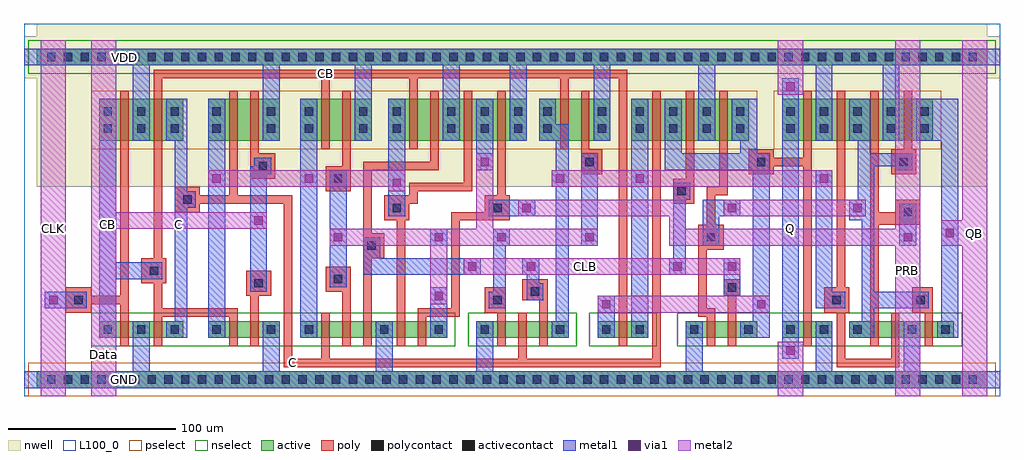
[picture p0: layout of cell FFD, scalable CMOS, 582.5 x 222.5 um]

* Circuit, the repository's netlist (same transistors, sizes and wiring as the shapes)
* Extracted by KLayout (CIDESI_CM05, LNunT, CIDESI)

.SUBCKT FFD Q CLK CB C Data QB CLB PRB VDD GND
M$1 VDD \$12 Q VDD CIDPMOS L=5U W=25U AS=312.5P AD=187.5P PS=75U PD=40U
M$2 \$13 \$10 VDD VDD CIDPMOS L=5U W=25U AS=187.5P AD=187.5P PS=40U PD=40U
M$3 VDD PRB \$13 VDD CIDPMOS L=5U W=25U AS=187.5P AD=187.5P PS=40U PD=40U
M$4 QB \$13 VDD VDD CIDPMOS L=5U W=25U AS=187.5P AD=312.5P PS=40U PD=75U
M$5 \$12 C \$10 VDD CIDPMOS L=5U W=25U AS=312.5P AD=187.5P PS=75U PD=40U
M$6 VDD CLB \$12 VDD CIDPMOS L=5U W=25U AS=187.5P AD=187.5P PS=40U PD=40U
M$7 \$12 \$13 VDD VDD CIDPMOS L=5U W=25U AS=187.5P AD=312.5P PS=40U PD=75U
M$8 \$38 CB \$10 VDD CIDPMOS L=5U W=25U AS=312.5P AD=93.75P PS=75U PD=32.5U
M$9 VDD \$9 \$38 VDD CIDPMOS L=5U W=25U AS=93.75P AD=312.5P PS=32.5U PD=75U
M$10 \$31 C \$7 VDD CIDPMOS L=5U W=25U AS=312.5P AD=93.75P PS=75U PD=32.5U
M$11 VDD Data \$31 VDD CIDPMOS L=5U W=25U AS=93.75P AD=312.5P PS=32.5U PD=75U
M$12 \$34 CB \$7 VDD CIDPMOS L=5U W=25U AS=312.5P AD=93.75P PS=75U PD=32.5U
M$13 VDD \$9 \$34 VDD CIDPMOS L=5U W=25U AS=93.75P AD=312.5P PS=32.5U PD=75U
M$14 \$35 CB \$7 VDD CIDPMOS L=5U W=25U AS=312.5P AD=93.75P PS=75U PD=32.5U
M$15 VDD CLB \$35 VDD CIDPMOS L=5U W=25U AS=93.75P AD=187.5P PS=32.5U PD=40U
M$16 \$9 \$7 VDD VDD CIDPMOS L=5U W=25U AS=187.5P AD=187.5P PS=40U PD=40U
M$17 VDD PRB \$9 VDD CIDPMOS L=5U W=25U AS=187.5P AD=312.5P PS=40U PD=75U
M$18 VDD CLK CB VDD CIDPMOS L=5U W=25U AS=312.5P AD=187.5P PS=75U PD=40U
M$19 C CB VDD VDD CIDPMOS L=5U W=25U AS=187.5P AD=312.5P PS=40U PD=75U
M$20 \$17 PRB \$13 GND CIDNMOS L=5U W=10U AS=125P AD=37.5P PS=45U PD=17.5U
M$21 GND \$10 \$17 GND CIDNMOS L=5U W=10U AS=37.5P AD=75P PS=17.5U PD=25U
M$22 QB \$13 GND GND CIDNMOS L=5U W=10U AS=75P AD=125P PS=25U PD=45U
M$23 GND \$12 Q GND CIDNMOS L=5U W=10U AS=125P AD=125P PS=45U PD=45U
M$24 \$25 \$13 GND GND CIDNMOS L=5U W=10U AS=125P AD=37.5P PS=45U PD=17.5U
M$25 \$12 CLB \$25 GND CIDNMOS L=5U W=10U AS=37.5P AD=125P PS=17.5U PD=45U
M$26 GND CLK CB GND CIDNMOS L=5U W=10U AS=125P AD=75P PS=45U PD=25U
M$27 C CB GND GND CIDNMOS L=5U W=10U AS=75P AD=125P PS=25U PD=45U
M$28 \$18 C \$7 GND CIDNMOS L=5U W=10U AS=125P AD=37.5P PS=45U PD=17.5U
M$29 \$19 \$9 \$18 GND CIDNMOS L=5U W=10U AS=37.5P AD=37.5P PS=17.5U PD=17.5U
M$30 GND CLB \$19 GND CIDNMOS L=5U W=10U AS=37.5P AD=75P PS=17.5U PD=25U
M$31 \$20 \$7 GND GND CIDNMOS L=5U W=10U AS=75P AD=37.5P PS=25U PD=17.5U
M$32 \$9 PRB \$20 GND CIDNMOS L=5U W=10U AS=37.5P AD=125P PS=17.5U PD=45U
M$33 \$16 CB \$7 GND CIDNMOS L=5U W=10U AS=125P AD=37.5P PS=45U PD=17.5U
M$34 GND Data \$16 GND CIDNMOS L=5U W=10U AS=37.5P AD=125P PS=17.5U PD=45U
M$35 \$22 \$9 GND GND CIDNMOS L=5U W=10U AS=125P AD=37.5P PS=45U PD=17.5U
M$36 \$23 C \$22 GND CIDNMOS L=5U W=10U AS=37.5P AD=37.5P PS=17.5U PD=17.5U
M$37 \$10 CLB \$23 GND CIDNMOS L=5U W=10U AS=37.5P AD=125P PS=17.5U PD=45U
M$38 \$10 CB \$12 GND CIDNMOS L=5U W=10U AS=125P AD=125P PS=45U PD=45U
.ENDS FFD

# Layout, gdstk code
import gdstk
lib = gdstk.Library(unit=1e-6, precision=1e-09)
def R(c, l, rs):  # rectangles x0, y0, x1, y1
    for r in rs: c.add(gdstk.rectangle(r[:2], r[2:], *l))
def A(c, l, x, y, w, h, nx, ny, dx, dy):  # array of equal rectangles
    R(c, l, [(x+i*dx, y+j*dy, x+i*dx+w, y+j*dy+h) for i in range(nx) for j in range(ny)])
nwell = (42, 0)
active = (43, 0)
pselect = (44, 0)
nselect = (45, 0)
poly = (46, 0)
polycontact = (47, 0)
activecontact = (48, 0)
metal1 = (49, 0)
via1 = (50, 0)
metal2 = (51, 0)
L100_0 = (100, 0)

ffd = lib.new_cell('FFD')
R(ffd, nwell, [(7.5,125,575,190), (0,190,582.5,215), (7.5,215,575,222.5)])
R(ffd, active, [(7.5,5,575,15), (45,35,95,45), (110,35,152.5,45), (165,35,252.5,45), (270,35,325,45), (342.5,35,372.5,45), (395,35,437.5,45), (452.5,35,482.5,45), (492.5,35,555,45), (45,152.5,95,177.5), (110,152.5,152.5,177.5), (165,152.5,207.5,177.5), (217.5,152.5,300,177.5), (307.5,152.5,350,177.5), (362.5,152.5,432.5,177.5), (452.5,152.5,542.5,177.5), (7.5,197.5,575,207.5)])
R(ffd, pselect, [(2.5,0,580,20), (40,147.5,437.5,182.5), (447.5,147.5,547.5,182.5)])
R(ffd, nselect, [(40,30,257.5,50), (265,30,330,50), (337.5,30,377.5,50), (390,30,560,50), (2.5,192.5,580,212.5)])
R(ffd, poly, [(155,17.5,380,22.5), (485,17.5,522.5,22.5), (155,22.5,160,115), (177.5,22.5,182.5,50), (295,22.5,300,50), (375,22.5,380,182.5), (485,22.5,490,50), (517.5,22.5,522.5,50), (57.5,30,62.5,55), (77.5,30,82.5,47.5), (122.5,30,127.5,47.5), (135,30,140,60), (190,30,195,62.5), (202.5,30,207.5,82.5), (222.5,30,227.5,105), (235,30,240,47.5), (282.5,30,287.5,50), (307.5,30,312.5,57.5), (355,30,360,190), (407.5,30,412.5,47.5), (420,30,425,60), (465,30,470,137.5), (505,30,510,102.5), (537.5,30,542.5,50), (77.5,47.5,127.5,52.5), (235,47.5,260,52.5), (402.5,47.5,412.5,52.5), (25,50,40,55), (275,50,287.5,65), (477.5,50,492.5,65), (530,50,542.5,65), (77.5,52.5,82.5,67.5), (255,52.5,260,105), (402.5,52.5,407.5,87.5), (25,55,62.5,60), (297.5,57.5,312.5,70), (25,60,40,65), (57.5,60,62.5,182.5), (132.5,60,147.5,75), (417.5,60,427.5,70), (180,62.5,195,77.5), (485,65,490,182.5), (70,67.5,85,82.5), (77.5,82.5,82.5,190), (202.5,82.5,215,97.5), (402.5,87.5,417.5,102.5), (202.5,97.5,207.5,135), (407.5,102.5,412.5,120), (505,102.5,535,110), (215,105,230,115), (255,105,290,110), (90,110,105,115), (275,110,290,120), (505,110,510,182.5), (520,110,535,117.5), (90,115,160,120), (215,115,235,120), (387.5,115,400,130), (90,120,105,125), (122.5,120,127.5,182.5), (230,120,235,122.5), (282.5,120,287.5,182.5), (407.5,120,420,125), (180,122.5,195,137.5), (230,122.5,267.5,127.5), (415,125,420,182.5), (262.5,127.5,267.5,182.5), (135,130,150,145), (395,130,400,182.5), (332.5,132.5,345,147.5), (432.5,132.5,447.5,137.5), (517.5,132.5,532.5,147.5), (202.5,135,247.5,140), (190,137.5,195,182.5), (432.5,137.5,470,142.5), (242.5,140,247.5,182.5), (432.5,142.5,447.5,147.5), (465,142.5,470,182.5), (135,145,140,182.5), (177.5,147.5,182.5,190), (230,147.5,235,190), (320,147.5,325,190), (332.5,147.5,337.5,182.5), (525,147.5,530,182.5), (77.5,190,360,195)])
R(ffd, polycontact, [(30,55,35,60), (280,55,285,60), (482.5,55,487.5,60), (532.5,55,537.5,60), (302.5,60,307.5,65), (420,62.5,425,67.5), (137.5,65,142.5,70), (185,67.5,190,72.5), (75,72.5,80,77.5), (205,87.5,210,92.5), (407.5,92.5,412.5,97.5), (525,107.5,530,112.5), (220,110,225,115), (280,110,285,115), (95,115,100,120), (390,120,395,125), (185,127.5,190,132.5), (140,135,145,140), (335,137.5,340,142.5), (437.5,137.5,442.5,142.5), (522.5,137.5,527.5,142.5)])
A(ffd, activecontact, 13.75, 7.5, 5, 5, 56, 2, 10, 192.5)
A(ffd, activecontact, 47.5, 37.5, 5, 5, 3, 2, 20, 120)
A(ffd, activecontact, 365, 37.5, 5, 5, 3, 1, 32.5, 0)
A(ffd, activecontact, 455, 37.5, 5, 5, 3, 1, 20, 0)
A(ffd, activecontact, 252.5, 157.5, 5, 5, 3, 2, 20, 10)
A(ffd, activecontact, 365, 157.5, 5, 5, 4, 2, 20, 10)
A(ffd, activecontact, 455, 157.5, 5, 5, 5, 2, 20, 10)
A(ffd, activecontact, 47.5, 167.5, 5, 5, 3, 1, 20, 0)
R(ffd, activecontact, [(112.5,37.5,117.5,42.5), (145,37.5,150,42.5), (167.5,37.5,172.5,42.5), (212.5,37.5,217.5,42.5), (245,37.5,250,42.5), (272.5,37.5,277.5,42.5), (317.5,37.5,322.5,42.5), (345,37.5,350,42.5), (527.5,37.5,532.5,42.5), (547.5,37.5,552.5,42.5), (112.5,157.5,117.5,162.5), (145,157.5,150,162.5), (167.5,157.5,172.5,162.5), (200,157.5,205,162.5), (220,157.5,225,162.5), (310,157.5,315,162.5), (342.5,157.5,347.5,162.5), (112.5,167.5,117.5,172.5), (145,167.5,150,172.5), (167.5,167.5,172.5,172.5), (200,167.5,205,172.5), (220,167.5,225,172.5), (310,167.5,315,172.5), (342.5,167.5,347.5,172.5)])
R(ffd, metal1, [(0,5,582.5,15), (7.5,5,575,15), (65,15,75,45), (142.5,15,152.5,45), (210,15,220,45), (270,15,280,45), (395,15,405,45), (472.5,15,482.5,45), (525,15,535,45), (452.5,22.5,462.5,190), (45,35,55,70), (85,35,97.5,45), (110,35,120,177.5), (165,35,175,177.5), (242.5,35,252.5,65), (315,35,325,45), (342.5,35,352.5,60), (362.5,35,372.5,177.5), (427.5,35,445,45), (492.5,35,507.5,45), (545,35,557.5,45), (90,45,97.5,112.5), (317.5,45,325,125), (435,45,445,135), (500,45,507.5,52.5), (547.5,45,557.5,152.5), (12.5,52.5,37.5,62.5), (277.5,52.5,287.5,62.5), (472.5,52.5,490,62.5), (500,52.5,540,62.5), (300,57.5,310,67.5), (417.5,60,427.5,82.5), (135,62.5,145,132.5), (280,62.5,287.5,90), (472.5,62.5,482.5,135), (500,62.5,507.5,105), (182.5,65,192.5,135), (300,67.5,307.5,72.5), (45,70,82.5,80), (202.5,72.5,272.5,82.5), (297.5,72.5,307.5,82.5), (385,72.5,395,82.5), (45,80,55,177.5), (202.5,82.5,212.5,95), (387.5,82.5,395,117.5), (242.5,90,252.5,100), (280,90,290,100), (332.5,90,342.5,145), (405,90,415,107.5), (522.5,90,532.5,115), (492.5,105,507.5,117.5), (217.5,107.5,227.5,177.5), (277.5,107.5,305,117.5), (405,107.5,427.5,117.5), (90,112.5,102.5,122.5), (387.5,117.5,397.5,127.5), (497.5,117.5,507.5,137.5), (90,122.5,97.5,152.5), (315,125,325,135), (135,132.5,147.5,137.5), (270,135,280,177.5), (317.5,135,325,152.5), (382.5,135,445,145), (520,135,530,137.5), (137.5,137.5,147.5,142.5), (497.5,137.5,530,145), (382.5,145,392.5,177.5), (427.5,145,437.5,152.5), (497.5,145,505,152.5), (65,152.5,75,197.5), (85,152.5,97.5,177.5), (142.5,152.5,152.5,197.5), (197.5,152.5,207.5,197.5), (250,152.5,260,197.5), (290,152.5,300,197.5), (307.5,152.5,325,162.5), (340,152.5,350,197.5), (402.5,152.5,412.5,197.5), (422.5,152.5,437.5,177.5), (472.5,152.5,482.5,197.5), (492.5,152.5,505,177.5), (512.5,152.5,522.5,197.5), (532.5,152.5,557.5,177.5), (307.5,162.5,317.5,177.5), (0,197.5,582.5,207.5), (7.5,197.5,575,207.5)])
R(ffd, via1, [(455,25,460,30), (345,52.5,350,57.5), (437.5,52.5,442.5,57.5), (15,55,20,60), (245,57.5,250,62.5), (265,75,270,80), (300,75,305,80), (387.5,75,392.5,80), (420,75,425,80), (185,92.5,190,97.5), (245,92.5,250,97.5), (282.5,92.5,287.5,97.5), (335,92.5,340,97.5), (525,92.5,530,97.5), (550,95,555,100), (137.5,102.5,142.5,107.5), (297.5,110,302.5,115), (420,110,425,115), (495,110,500,115), (220,125,225,130), (112.5,127.5,117.5,132.5), (167.5,127.5,172.5,132.5), (317.5,127.5,322.5,132.5), (365,127.5,370,132.5), (475,127.5,480,132.5), (272.5,137.5,277.5,142.5), (455,182.5,460,187.5)])
R(ffd, metal2, [(10,0,25,212.5), (40,0,55,100), (450,0,465,32.5), (520,0,535,90), (560,0,575,90), (342.5,50,445,60), (242.5,55,252.5,90), (262.5,72.5,427.5,82.5), (182.5,90,342.5,100), (385,90,535,100), (547.5,90,575,105), (40,100,145,110), (270,100,280,145), (385,100,395,107.5), (520,100,535,212.5), (560,105,575,212.5), (295,107.5,395,117.5), (417.5,107.5,502.5,117.5), (40,110,55,212.5), (217.5,122.5,227.5,125), (110,125,227.5,135), (315,125,482.5,135), (450,180,465,212.5)])
R(ffd, L100_0, [(0,0,582.5,222.5)])
ffd.add(gdstk.Label('GND', (60,10), layer=49, texttype=1))
ffd.add(gdstk.Label('VDD', (60,202.5), layer=49, texttype=1))
ffd.add(gdstk.Label('Q', (457.5,100), layer=49, texttype=1))
ffd.add(gdstk.Label('CB', (50,102.5), layer=49, texttype=1))
ffd.add(gdstk.Label('C', (92.5,102.5), layer=49, texttype=1))
ffd.add(gdstk.Label('PRB', (527.5,75), layer=51, texttype=1))
ffd.add(gdstk.Label('QB', (567.5,97.5), layer=51, texttype=1))
ffd.add(gdstk.Label('CLK', (17.5,100), layer=51, texttype=1))
ffd.add(gdstk.Label('Data', (47.5,25), layer=51, texttype=1))
ffd.add(gdstk.Label('CLB', (335,77.5), layer=51, texttype=1))
ffd.add(gdstk.Label('CB', (180,192.5), layer=46, texttype=1))
ffd.add(gdstk.Label('C', (160,20), layer=46, texttype=1))

lib.write_gds('FFD.gds')
